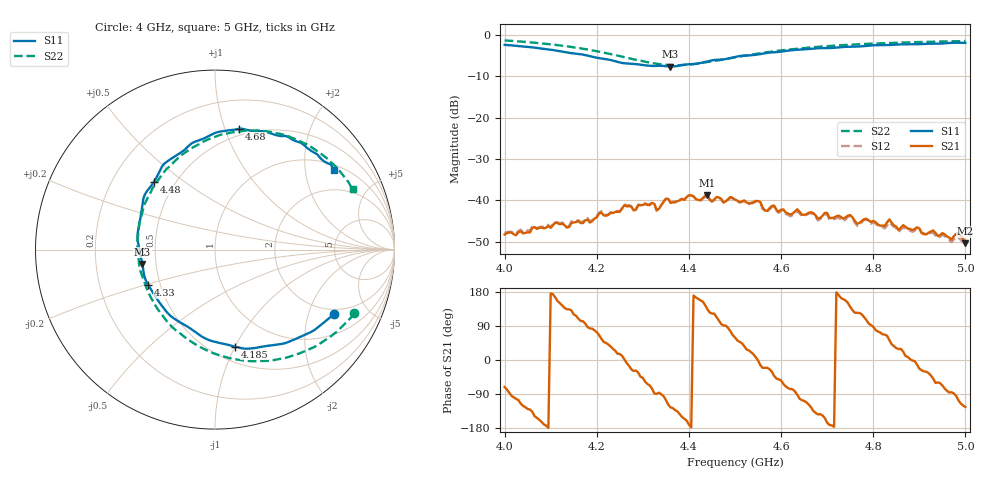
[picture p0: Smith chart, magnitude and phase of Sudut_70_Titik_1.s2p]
# Hz S RI R 50
! CMT, C1220, 16058040, 17.2.0/1
! Date: 15/08/2018 11:31:52
! Data: Format (Calibration Info)
! Freq  S11: Re/Im (F2)  S21: Re/Im (F2)  S12: Re/Im (F2)  S22: Re/Im (F2)
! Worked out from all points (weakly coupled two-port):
!   201 points, 4 GHz to 5 GHz, reference 50 ohm
!   highest |S21| = -38.67 dB at 4.44 GHz (marker M1); lowest = -50.3 dB at 5 GHz (marker M2)
!   lowest |S11| = -7.7 dB at 4.36 GHz (marker M3), VSWR 2.40, Z = 21 - j4.02 ohm
!   |S11| at or under -10 dB: nowhere
!   |S22| runs from -7.4 to -1.4 dB; largest |S21 - S12| = 0.00048
!   S11 on the Smith chart (normalised r, x): 4 GHz: 1.80, -2.98; 4.185 GHz: 0.64, -1.00; 4.33 GHz: 0.43, -0.21; 4.48 GHz: 0.38, +0.39; 4.68 GHz: 0.44, +1.12; 5 GHz: 1.17, +2.85
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4e9  0.6652 -0.3565  0.00125 -0.00366  0.00146 -0.00377  0.7749 -0.3555
4.17e9  0.1633 -0.5516  -0.00114 0.00521  -0.00126 0.00539  0.2727 -0.6204
4.185e9  0.1107 -0.5408  0.000628 0.00537  0.000627 0.00558  0.2088 -0.6216
4.26e9  -0.1719 -0.4181  0.00877 0.00019  0.00901 0.000228  -0.1174 -0.5228
4.32e9  -0.3498 -0.2332  0.00232 -0.00904  0.00229 -0.00929  -0.3312 -0.3127
4.33e9  -0.3712 -0.1991  8.17e-05 -0.00755  -1.93e-05 -0.00762  -0.3553 -0.2702
4.335e9  -0.3813 -0.1815  0.000522 -0.00791  0.000462 -0.00799  -0.3672 -0.247
4.36e9  -0.4046 -0.0796  -0.00538 -0.00765  -0.00552 -0.00774  -0.4133 -0.1263
4.44e9  -0.4035 0.2519  -0.00809 0.00839  -0.00783 0.0084  -0.3886 0.2618
4.48e9  -0.3413 0.3767  -0.000136 0.00974  9.42e-05 0.00959  -0.3003 0.4115
4.5e9  -0.303 0.4467  0.00519 0.00883  0.00515 0.00869  -0.2455 0.472
4.67e9  0.1153 0.6693  -0.0049 -0.00503  -0.00481 -0.00473  0.2477 0.6634
4.68e9  0.1342 0.6737  -0.00484 -0.00354  -0.00464 -0.00337  0.2728 0.6601
4.75e9  0.2889 0.6557  -0.0051 0.00428  -0.00505 0.00409  0.4337 0.6208
4.765e9  0.3214 0.6437  -0.00296 0.0043  -0.00281 0.00406  0.4633 0.6098
4.825e9  0.4269 0.6155  0.00192 0.00452  0.00193 0.00418  0.5687 0.5494
4.835e9  0.4452 0.6061  0.00361 0.00467  0.00323 0.00436  0.5833 0.5385
4.855e9  0.4774 0.5955  0.00382 0.00211  0.00362 0.00202  0.6133 0.5163
4.9e9  0.5427 0.5457  0.00424 -0.00177  0.00428 -0.0016  0.6705 0.4637
4.97e9  0.6398 0.4771  0.000294 -0.00335  0.000207 -0.00313  0.743 0.3767
4.985e9  0.649 0.4674  -0.00114 -0.00384  -0.00106 -0.0034  0.7549 0.3553
5e9  0.6617 0.4441  -0.00169 -0.00253  -0.00148 -0.00238  0.7686 0.3357
